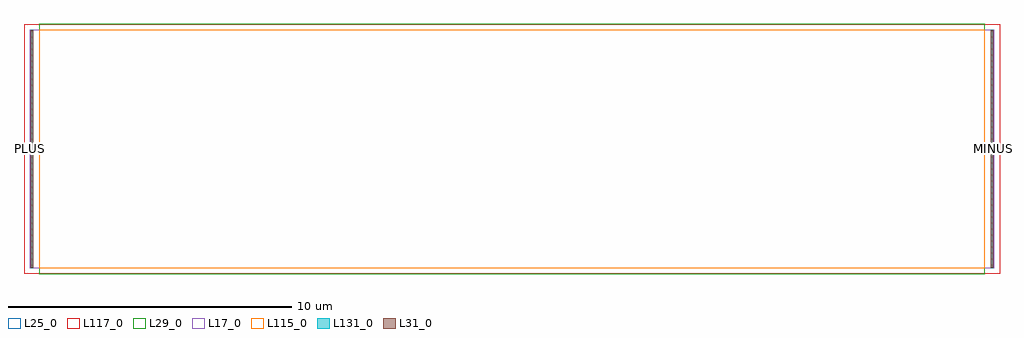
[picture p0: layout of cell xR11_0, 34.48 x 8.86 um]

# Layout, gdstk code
import gdstk
lib = gdstk.Library(unit=1e-6, precision=1e-09)
def R(c, l, rs):  # rectangles x0, y0, x1, y1
    for r in rs: c.add(gdstk.rectangle(r[:2], r[2:], *l))
L17_0 = (17, 0)
L25_0 = (25, 0)
L29_0 = (29, 0)
L31_0 = (31, 0)
L115_0 = (115, 0)
L117_0 = (117, 0)
L131_0 = (131, 0)

xr11_0 = lib.new_cell('xR11_0')
R(xr11_0, L17_0, [(0.2,0.22,34.28,8.64)])
R(xr11_0, L25_0, [(0,0.02,34.48,8.84)])
R(xr11_0, L29_0, [(0.54,0,33.94,8.86)])
R(xr11_0, L31_0, [(0.23,0.235,0.32,8.625), (34.16,0.235,34.25,8.625)])
R(xr11_0, L115_0, [(0.54,0.22,33.94,8.64)])
R(xr11_0, L117_0, [(0,0.02,34.48,8.84)])
R(xr11_0, L131_0, [(0.23,0.22,0.32,8.64), (34.16,0.22,34.25,8.64)])
xr11_0.add(gdstk.Label('PLUS', (0.23,4.445), layer=131, texttype=0))
xr11_0.add(gdstk.Label('MINUS', (34.25,4.445), layer=131, texttype=0))

lib.write_gds('xR11_0.gds')
